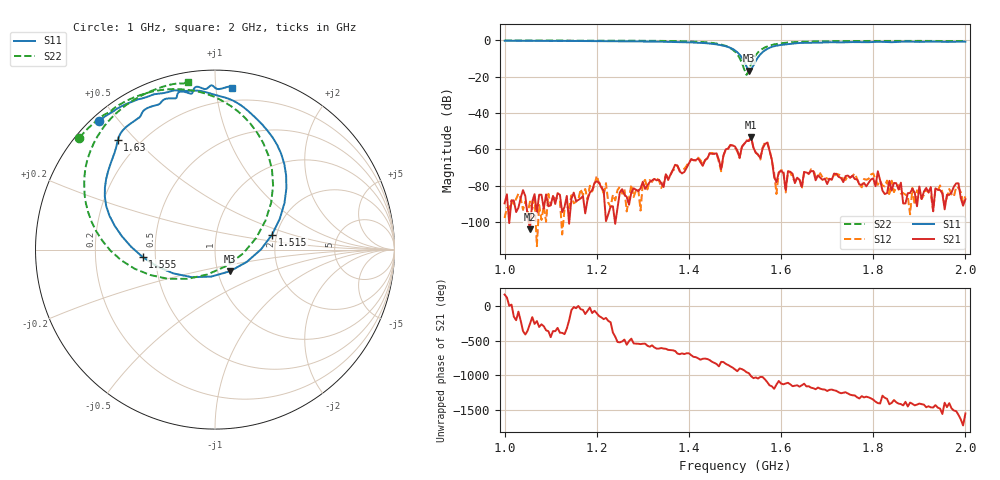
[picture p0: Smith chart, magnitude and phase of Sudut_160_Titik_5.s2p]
# Hz S RI R 50
! CMT, C1220, 16058040, 17.2.0/1
! Date: 14/08/2018 11:48:35
! Data: Format (Calibration Info)
! Freq  S11: Re/Im (F2)  S21: Re/Im (F2)  S12: Re/Im (F2)  S22: Re/Im (F2)
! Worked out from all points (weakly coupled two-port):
!   201 points, 1 GHz to 2 GHz, reference 50 ohm
!   highest |S21| = -53.35 dB at 1.535 GHz (marker M1); lowest = -104.0 dB at 1.055 GHz (marker M2)
!   lowest |S11| = -16.7 dB at 1.53 GHz (marker M3), VSWR 1.34, Z = 57.1 - j14.1 ohm
!   |S11| at or under -10 dB: 1.516 GHz to 1.549 GHz (32.76 MHz wide, 2.14 % of centre)
!   |S22| runs from -19.1 to -0.2 dB; largest |S21 - S12| = 0.00026
!   S11 on the Smith chart (normalised r, x): 1 GHz: 0.02, +0.44; 1.515 GHz: 1.89, +0.36; 1.555 GHz: 0.42, -0.04; 1.63 GHz: 0.12, +0.44; 2 GHz: 0.11, +1.11
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1e9  -0.6475 0.7149  -3.18e-05 7.91e-06  8.73e-06 9.54e-06  -0.7552 0.6243
1.055e9  -0.5928 0.7543  -1.61e-06 6.07e-06  1.3e-05 3.42e-05  -0.717 0.6654
1.17e9  -0.4675 0.8221  2.95e-05 -4.25e-05  4.93e-05 2.51e-05  -0.6182 0.7506
1.335e9  -0.2033 0.8854  -4.06e-05 0.00014  -2.47e-05 0.000138  -0.4008 0.866
1.45e9  0.1839 0.773  9.54e-05 -0.000744  6.03e-05 -0.000794  0.0218 0.8388
1.47e9  0.2917 0.6638  2.59e-05 -0.000284  6.46e-05 -0.00024  0.1617 0.74
1.48e9  0.3468 0.5823  -0.000409 -0.000916  -0.000383 -0.000912  0.2353 0.651
1.5e9  0.3977 0.34  -0.00116 0.000286  -0.00108 0.000258  0.3238 0.3568
1.51e9  0.3609 0.1719  -0.000588 2.19e-06  -0.000569 4.05e-05  0.2812 0.1615
1.515e9  0.3184 0.0839  -0.00115 0.000196  -0.00118 0.000169  0.2298 0.0653
1.53e9  0.0822 -0.1211  -0.000631 0.00157  -0.000672 0.00162  -0.0419 -0.1384
1.535e9  -0.0214 -0.1504  0.000822 0.00199  0.000839 0.00199  -0.1518 -0.163
1.555e9  -0.4038 -0.0406  0.000306 0.000488  0.000298 0.000431  -0.5222 -0.0595
1.57e9  -0.5584 0.1319  0.00146 -0.000474  0.00153 -0.000519  -0.6624 0.1035
1.59e9  -0.6133 0.3464  7.79e-05 -9.84e-05  3.01e-05 -5.1e-05  -0.7257 0.2986
1.605e9  -0.5827 0.4762  0.000146 -0.000166  0.000146 -0.000235  -0.7268 0.4098
1.61e9  -0.57 0.5105  6.01e-05 -4.69e-05  5.06e-05 -4.17e-05  -0.7237 0.4407
1.615e9  -0.5596 0.5399  0.000222 -0.000111  0.000214 -0.00013  -0.7188 0.4689
1.63e9  -0.5417 0.6087  4.31e-05 -0.00011  6.15e-05 -0.000117  -0.6971 0.5415
1.67e9  -0.4304 0.7291  -6.64e-05 -0.000244  -8.45e-05 -0.000257  -0.6278 0.6721
1.835e9  -0.138 0.8689  0.000125 5.51e-05  4.46e-05 2.91e-05  -0.3772 0.8741
2e9  0.0967 0.9027  -1.41e-05 -4.02e-05  -6.98e-07 -5.07e-05  -0.1521 0.9342
